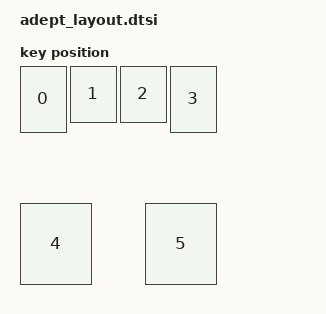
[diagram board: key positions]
/*
 * Adept BLE 物理布局
 *
 * 作用：给 Studio 与画键位图工具一个“按键在板子上的位置”描述。
 * 不影响按键功能，错了也只是显示位置不准。
 *
 * 坐标单位：1 单位 = 100（ZMK 惯用 1/100 英寸），X 向右、Y 向下。
 * 布局来源：由键盘布局编辑器导出的 KLE 坐标换算而来。
 *
 *   KLE 原始数据：
 *     上排 4 键 (y=0)：
 *       x0 h1.4 | x1 h1.2 | x2 h1.2 | x3 h1.4
 *     下方 2 个拇指大键 (y=2.75, w1.5, h1.7)：
 *       x0 (0~1.5) | x2.5 (2.5~4)
 *
 *   换算规则：X = x*100，Y = y*100，宽 = w*100，高 = h*100
 *
 * 必须 #include <physical_layouts.dtsi>（尖括号 = 取 ZMK 官方那份），
 * 因为 &key_physical_attrs 这个标签由官方定义。若在 shield 目录下放一个
 * 同名文件，引号 include 会优先命中本地文件而顶掉官方定义，解析就会失败。
 *
 * 每项 7 个参数：宽 高 X Y 旋转 旋转中心X 旋转中心Y
 *
 * SPDX-License-Identifier: MIT
 */

#include <physical_layouts.dtsi>

/ {
	adept_layout: adept_layout {
		compatible = "zmk,physical-layout";
		display-name = "Adept BLE";

		keys  //                     w   h    x    y   rot  rx  ry
			/* 上排 4 键 */
			= <&key_physical_attrs 100 140    0    0    0   0   0>   /* K1 左上大 */
			, <&key_physical_attrs 100 120  100    0    0   0   0>   /* K2 中左小 */
			, <&key_physical_attrs 100 120  200    0    0   0   0>   /* K3 中右小 */
			, <&key_physical_attrs 100 140  300    0    0   0   0>   /* K4 右上大 */
			/* 下方 2 个拇指键：索引 4 在左（X=0）、索引 5 在右（X=250）。
			 * 编辑器里点视觉左边 = 编辑索引 4，与物理左键一致。
			 * 若日后发现编辑器左右又反了，把这两个 X 值对调即可（不要动键值）。 */
			, <&key_physical_attrs 150 170    0  275    0   0   0>   /* K5 索引4 -> 左侧 */
			, <&key_physical_attrs 150 170  250  275    0   0   0>   /* K6 索引5 -> 右侧 */
			;
	};
};
